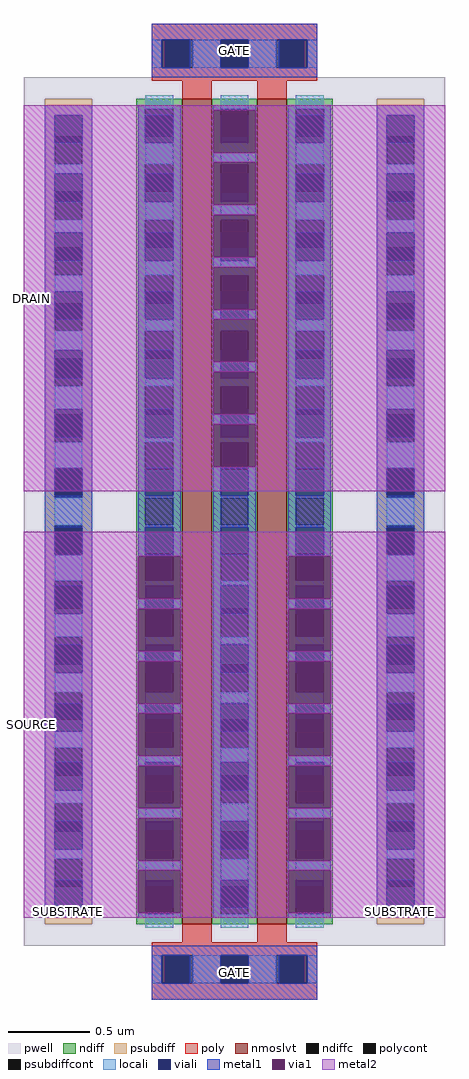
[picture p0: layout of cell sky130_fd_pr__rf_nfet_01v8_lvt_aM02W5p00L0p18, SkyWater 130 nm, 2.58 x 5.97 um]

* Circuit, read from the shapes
.subckt sky130_fd_pr__rf_nfet_01v8_lvt_aM02W5p00L0p18 DRAIN GATE SOURCE SUBSTRATE
XM1 DRAIN GATE SOURCE SUBSTRATE sky130_fd_pr__nfet_01v8_lvt w=5.05 l=0.18 m=2
.ends

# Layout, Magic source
magic
tech sky130A
magscale 1 2
<< pwell >>
rect 10 76 526 1138
<< nmoslvt >>
rect 204 102 240 1112
rect 296 102 332 1112
<< ndiff >>
rect 148 1100 204 1112
rect 148 1066 159 1100
rect 193 1066 204 1100
rect 148 1032 204 1066
rect 148 998 159 1032
rect 193 998 204 1032
rect 148 964 204 998
rect 148 930 159 964
rect 193 930 204 964
rect 148 896 204 930
rect 148 862 159 896
rect 193 862 204 896
rect 148 828 204 862
rect 148 794 159 828
rect 193 794 204 828
rect 148 760 204 794
rect 148 726 159 760
rect 193 726 204 760
rect 148 692 204 726
rect 148 658 159 692
rect 193 658 204 692
rect 148 624 204 658
rect 148 590 159 624
rect 193 590 204 624
rect 148 556 204 590
rect 148 522 159 556
rect 193 522 204 556
rect 148 488 204 522
rect 148 454 159 488
rect 193 454 204 488
rect 148 420 204 454
rect 148 386 159 420
rect 193 386 204 420
rect 148 352 204 386
rect 148 318 159 352
rect 193 318 204 352
rect 148 284 204 318
rect 148 250 159 284
rect 193 250 204 284
rect 148 216 204 250
rect 148 182 159 216
rect 193 182 204 216
rect 148 148 204 182
rect 148 114 159 148
rect 193 114 204 148
rect 148 102 204 114
rect 240 1100 296 1112
rect 240 1066 251 1100
rect 285 1066 296 1100
rect 240 1032 296 1066
rect 240 998 251 1032
rect 285 998 296 1032
rect 240 964 296 998
rect 240 930 251 964
rect 285 930 296 964
rect 240 896 296 930
rect 240 862 251 896
rect 285 862 296 896
rect 240 828 296 862
rect 240 794 251 828
rect 285 794 296 828
rect 240 760 296 794
rect 240 726 251 760
rect 285 726 296 760
rect 240 692 296 726
rect 240 658 251 692
rect 285 658 296 692
rect 240 624 296 658
rect 240 590 251 624
rect 285 590 296 624
rect 240 556 296 590
rect 240 522 251 556
rect 285 522 296 556
rect 240 488 296 522
rect 240 454 251 488
rect 285 454 296 488
rect 240 420 296 454
rect 240 386 251 420
rect 285 386 296 420
rect 240 352 296 386
rect 240 318 251 352
rect 285 318 296 352
rect 240 284 296 318
rect 240 250 251 284
rect 285 250 296 284
rect 240 216 296 250
rect 240 182 251 216
rect 285 182 296 216
rect 240 148 296 182
rect 240 114 251 148
rect 285 114 296 148
rect 240 102 296 114
rect 332 1100 388 1112
rect 332 1066 343 1100
rect 377 1066 388 1100
rect 332 1032 388 1066
rect 332 998 343 1032
rect 377 998 388 1032
rect 332 964 388 998
rect 332 930 343 964
rect 377 930 388 964
rect 332 896 388 930
rect 332 862 343 896
rect 377 862 388 896
rect 332 828 388 862
rect 332 794 343 828
rect 377 794 388 828
rect 332 760 388 794
rect 332 726 343 760
rect 377 726 388 760
rect 332 692 388 726
rect 332 658 343 692
rect 377 658 388 692
rect 332 624 388 658
rect 332 590 343 624
rect 377 590 388 624
rect 332 556 388 590
rect 332 522 343 556
rect 377 522 388 556
rect 332 488 388 522
rect 332 454 343 488
rect 377 454 388 488
rect 332 420 388 454
rect 332 386 343 420
rect 377 386 388 420
rect 332 352 388 386
rect 332 318 343 352
rect 377 318 388 352
rect 332 284 388 318
rect 332 250 343 284
rect 377 250 388 284
rect 332 216 388 250
rect 332 182 343 216
rect 377 182 388 216
rect 332 148 388 182
rect 332 114 343 148
rect 377 114 388 148
rect 332 102 388 114
<< ndiffc >>
rect 159 1066 193 1100
rect 159 998 193 1032
rect 159 930 193 964
rect 159 862 193 896
rect 159 794 193 828
rect 159 726 193 760
rect 159 658 193 692
rect 159 590 193 624
rect 159 522 193 556
rect 159 454 193 488
rect 159 386 193 420
rect 159 318 193 352
rect 159 250 193 284
rect 159 182 193 216
rect 159 114 193 148
rect 251 1066 285 1100
rect 251 998 285 1032
rect 251 930 285 964
rect 251 862 285 896
rect 251 794 285 828
rect 251 726 285 760
rect 251 658 285 692
rect 251 590 285 624
rect 251 522 285 556
rect 251 454 285 488
rect 251 386 285 420
rect 251 318 285 352
rect 251 250 285 284
rect 251 182 285 216
rect 251 114 285 148
rect 343 1066 377 1100
rect 343 998 377 1032
rect 343 930 377 964
rect 343 862 377 896
rect 343 794 377 828
rect 343 726 377 760
rect 343 658 377 692
rect 343 590 377 624
rect 343 522 377 556
rect 343 454 377 488
rect 343 386 377 420
rect 343 318 377 352
rect 343 250 377 284
rect 343 182 377 216
rect 343 114 377 148
<< psubdiff >>
rect 36 1066 94 1112
rect 36 1032 48 1066
rect 82 1032 94 1066
rect 36 998 94 1032
rect 36 964 48 998
rect 82 964 94 998
rect 36 930 94 964
rect 36 896 48 930
rect 82 896 94 930
rect 36 862 94 896
rect 36 828 48 862
rect 82 828 94 862
rect 36 794 94 828
rect 36 760 48 794
rect 82 760 94 794
rect 36 726 94 760
rect 36 692 48 726
rect 82 692 94 726
rect 36 658 94 692
rect 36 624 48 658
rect 82 624 94 658
rect 36 590 94 624
rect 36 556 48 590
rect 82 556 94 590
rect 36 522 94 556
rect 36 488 48 522
rect 82 488 94 522
rect 36 454 94 488
rect 36 420 48 454
rect 82 420 94 454
rect 36 386 94 420
rect 36 352 48 386
rect 82 352 94 386
rect 36 318 94 352
rect 36 284 48 318
rect 82 284 94 318
rect 36 250 94 284
rect 36 216 48 250
rect 82 216 94 250
rect 36 182 94 216
rect 36 148 48 182
rect 82 148 94 182
rect 36 102 94 148
rect 442 1066 500 1112
rect 442 1032 454 1066
rect 488 1032 500 1066
rect 442 998 500 1032
rect 442 964 454 998
rect 488 964 500 998
rect 442 930 500 964
rect 442 896 454 930
rect 488 896 500 930
rect 442 862 500 896
rect 442 828 454 862
rect 488 828 500 862
rect 442 794 500 828
rect 442 760 454 794
rect 488 760 500 794
rect 442 726 500 760
rect 442 692 454 726
rect 488 692 500 726
rect 442 658 500 692
rect 442 624 454 658
rect 488 624 500 658
rect 442 590 500 624
rect 442 556 454 590
rect 488 556 500 590
rect 442 522 500 556
rect 442 488 454 522
rect 488 488 500 522
rect 442 454 500 488
rect 442 420 454 454
rect 488 420 500 454
rect 442 386 500 420
rect 442 352 454 386
rect 488 352 500 386
rect 442 318 500 352
rect 442 284 454 318
rect 488 284 500 318
rect 442 250 500 284
rect 442 216 454 250
rect 488 216 500 250
rect 442 182 500 216
rect 442 148 454 182
rect 488 148 500 182
rect 442 102 500 148
<< psubdiffcont >>
rect 48 1032 82 1066
rect 48 964 82 998
rect 48 896 82 930
rect 48 828 82 862
rect 48 760 82 794
rect 48 692 82 726
rect 48 624 82 658
rect 48 556 82 590
rect 48 488 82 522
rect 48 420 82 454
rect 48 352 82 386
rect 48 284 82 318
rect 48 216 82 250
rect 48 148 82 182
rect 454 1032 488 1066
rect 454 964 488 998
rect 454 896 488 930
rect 454 828 488 862
rect 454 760 488 794
rect 454 692 488 726
rect 454 624 488 658
rect 454 556 488 590
rect 454 488 488 522
rect 454 420 488 454
rect 454 352 488 386
rect 454 284 488 318
rect 454 216 488 250
rect 454 148 488 182
<< poly >>
rect 167 1184 369 1204
rect 167 1150 183 1184
rect 217 1150 251 1184
rect 285 1150 319 1184
rect 353 1150 369 1184
rect 167 1134 369 1150
rect 204 1112 240 1134
rect 296 1112 332 1134
rect 204 80 240 102
rect 296 80 332 102
rect 167 64 369 80
rect 167 30 183 64
rect 217 30 251 64
rect 285 30 319 64
rect 353 30 369 64
rect 167 10 369 30
<< polycont >>
rect 183 1150 217 1184
rect 251 1150 285 1184
rect 319 1150 353 1184
rect 183 30 217 64
rect 251 30 285 64
rect 319 30 353 64
<< locali >>
rect 167 1150 179 1184
rect 217 1150 251 1184
rect 285 1150 319 1184
rect 357 1150 369 1184
rect 159 1100 193 1116
rect 48 1020 82 1032
rect 48 948 82 964
rect 48 876 82 896
rect 48 804 82 828
rect 48 732 82 760
rect 48 660 82 692
rect 48 590 82 624
rect 48 522 82 554
rect 48 454 82 482
rect 48 386 82 410
rect 48 318 82 338
rect 48 250 82 266
rect 48 182 82 194
rect 159 1032 193 1058
rect 159 964 193 986
rect 159 896 193 914
rect 159 828 193 842
rect 159 760 193 770
rect 159 692 193 698
rect 159 624 193 626
rect 159 588 193 590
rect 159 516 193 522
rect 159 444 193 454
rect 159 372 193 386
rect 159 300 193 318
rect 159 228 193 250
rect 159 156 193 182
rect 159 98 193 114
rect 251 1100 285 1116
rect 251 1032 285 1058
rect 251 964 285 986
rect 251 896 285 914
rect 251 828 285 842
rect 251 760 285 770
rect 251 692 285 698
rect 251 624 285 626
rect 251 588 285 590
rect 251 516 285 522
rect 251 444 285 454
rect 251 372 285 386
rect 251 300 285 318
rect 251 228 285 250
rect 251 156 285 182
rect 251 98 285 114
rect 343 1100 377 1116
rect 343 1032 377 1058
rect 343 964 377 986
rect 343 896 377 914
rect 343 828 377 842
rect 343 760 377 770
rect 343 692 377 698
rect 343 624 377 626
rect 343 588 377 590
rect 343 516 377 522
rect 343 444 377 454
rect 343 372 377 386
rect 343 300 377 318
rect 343 228 377 250
rect 343 156 377 182
rect 454 1020 488 1032
rect 454 948 488 964
rect 454 876 488 896
rect 454 804 488 828
rect 454 732 488 760
rect 454 660 488 692
rect 454 590 488 624
rect 454 522 488 554
rect 454 454 488 482
rect 454 386 488 410
rect 454 318 488 338
rect 454 250 488 266
rect 454 182 488 194
rect 343 98 377 114
rect 167 30 179 64
rect 217 30 251 64
rect 285 30 319 64
rect 357 30 369 64
<< viali >>
rect 179 1150 183 1184
rect 183 1150 213 1184
rect 251 1150 285 1184
rect 323 1150 353 1184
rect 353 1150 357 1184
rect 48 1066 82 1092
rect 48 1058 82 1066
rect 48 998 82 1020
rect 48 986 82 998
rect 48 930 82 948
rect 48 914 82 930
rect 48 862 82 876
rect 48 842 82 862
rect 48 794 82 804
rect 48 770 82 794
rect 48 726 82 732
rect 48 698 82 726
rect 48 658 82 660
rect 48 626 82 658
rect 48 556 82 588
rect 48 554 82 556
rect 48 488 82 516
rect 48 482 82 488
rect 48 420 82 444
rect 48 410 82 420
rect 48 352 82 372
rect 48 338 82 352
rect 48 284 82 300
rect 48 266 82 284
rect 48 216 82 228
rect 48 194 82 216
rect 48 148 82 156
rect 48 122 82 148
rect 159 1066 193 1092
rect 159 1058 193 1066
rect 159 998 193 1020
rect 159 986 193 998
rect 159 930 193 948
rect 159 914 193 930
rect 159 862 193 876
rect 159 842 193 862
rect 159 794 193 804
rect 159 770 193 794
rect 159 726 193 732
rect 159 698 193 726
rect 159 658 193 660
rect 159 626 193 658
rect 159 556 193 588
rect 159 554 193 556
rect 159 488 193 516
rect 159 482 193 488
rect 159 420 193 444
rect 159 410 193 420
rect 159 352 193 372
rect 159 338 193 352
rect 159 284 193 300
rect 159 266 193 284
rect 159 216 193 228
rect 159 194 193 216
rect 159 148 193 156
rect 159 122 193 148
rect 251 1066 285 1092
rect 251 1058 285 1066
rect 251 998 285 1020
rect 251 986 285 998
rect 251 930 285 948
rect 251 914 285 930
rect 251 862 285 876
rect 251 842 285 862
rect 251 794 285 804
rect 251 770 285 794
rect 251 726 285 732
rect 251 698 285 726
rect 251 658 285 660
rect 251 626 285 658
rect 251 556 285 588
rect 251 554 285 556
rect 251 488 285 516
rect 251 482 285 488
rect 251 420 285 444
rect 251 410 285 420
rect 251 352 285 372
rect 251 338 285 352
rect 251 284 285 300
rect 251 266 285 284
rect 251 216 285 228
rect 251 194 285 216
rect 251 148 285 156
rect 251 122 285 148
rect 343 1066 377 1092
rect 343 1058 377 1066
rect 343 998 377 1020
rect 343 986 377 998
rect 343 930 377 948
rect 343 914 377 930
rect 343 862 377 876
rect 343 842 377 862
rect 343 794 377 804
rect 343 770 377 794
rect 343 726 377 732
rect 343 698 377 726
rect 343 658 377 660
rect 343 626 377 658
rect 343 556 377 588
rect 343 554 377 556
rect 343 488 377 516
rect 343 482 377 488
rect 343 420 377 444
rect 343 410 377 420
rect 343 352 377 372
rect 343 338 377 352
rect 343 284 377 300
rect 343 266 377 284
rect 343 216 377 228
rect 343 194 377 216
rect 343 148 377 156
rect 343 122 377 148
rect 454 1066 488 1092
rect 454 1058 488 1066
rect 454 998 488 1020
rect 454 986 488 998
rect 454 930 488 948
rect 454 914 488 930
rect 454 862 488 876
rect 454 842 488 862
rect 454 794 488 804
rect 454 770 488 794
rect 454 726 488 732
rect 454 698 488 726
rect 454 658 488 660
rect 454 626 488 658
rect 454 556 488 588
rect 454 554 488 556
rect 454 488 488 516
rect 454 482 488 488
rect 454 420 488 444
rect 454 410 488 420
rect 454 352 488 372
rect 454 338 488 352
rect 454 284 488 300
rect 454 266 488 284
rect 454 216 488 228
rect 454 194 488 216
rect 454 148 488 156
rect 454 122 488 148
rect 179 30 183 64
rect 183 30 213 64
rect 251 30 285 64
rect 323 30 353 64
rect 353 30 357 64
<< metal1 >>
rect 167 1184 369 1204
rect 167 1150 179 1184
rect 213 1150 251 1184
rect 285 1150 323 1184
rect 357 1150 369 1184
rect 167 1138 369 1150
rect 36 1092 94 1104
rect 36 1058 48 1092
rect 82 1058 94 1092
rect 36 1020 94 1058
rect 36 986 48 1020
rect 82 986 94 1020
rect 36 948 94 986
rect 36 914 48 948
rect 82 914 94 948
rect 36 876 94 914
rect 36 842 48 876
rect 82 842 94 876
rect 36 804 94 842
rect 36 770 48 804
rect 82 770 94 804
rect 36 732 94 770
rect 36 698 48 732
rect 82 698 94 732
rect 36 660 94 698
rect 36 626 48 660
rect 82 626 94 660
rect 36 588 94 626
rect 36 554 48 588
rect 82 554 94 588
rect 36 516 94 554
rect 36 482 48 516
rect 82 482 94 516
rect 36 444 94 482
rect 36 410 48 444
rect 82 410 94 444
rect 36 372 94 410
rect 36 338 48 372
rect 82 338 94 372
rect 36 300 94 338
rect 36 266 48 300
rect 82 266 94 300
rect 36 228 94 266
rect 36 194 48 228
rect 82 194 94 228
rect 36 156 94 194
rect 36 122 48 156
rect 82 122 94 156
rect 36 110 94 122
rect 150 1092 202 1104
rect 150 1058 159 1092
rect 193 1058 202 1092
rect 150 1020 202 1058
rect 150 986 159 1020
rect 193 986 202 1020
rect 150 948 202 986
rect 150 914 159 948
rect 193 914 202 948
rect 150 876 202 914
rect 150 842 159 876
rect 193 842 202 876
rect 150 804 202 842
rect 150 770 159 804
rect 193 770 202 804
rect 150 732 202 770
rect 150 698 159 732
rect 193 698 202 732
rect 150 660 202 698
rect 150 626 159 660
rect 193 626 202 660
rect 150 588 202 626
rect 150 554 159 588
rect 193 554 202 588
rect 150 552 202 554
rect 150 488 159 500
rect 193 488 202 500
rect 150 424 159 436
rect 193 424 202 436
rect 150 360 159 372
rect 193 360 202 372
rect 150 300 202 308
rect 150 296 159 300
rect 193 296 202 300
rect 150 232 202 244
rect 150 168 202 180
rect 150 110 202 116
rect 242 1098 294 1104
rect 242 1034 294 1046
rect 242 970 294 982
rect 242 914 251 918
rect 285 914 294 918
rect 242 906 294 914
rect 242 842 251 854
rect 285 842 294 854
rect 242 778 251 790
rect 285 778 294 790
rect 242 714 251 726
rect 285 714 294 726
rect 242 660 294 662
rect 242 626 251 660
rect 285 626 294 660
rect 242 588 294 626
rect 242 554 251 588
rect 285 554 294 588
rect 242 516 294 554
rect 242 482 251 516
rect 285 482 294 516
rect 242 444 294 482
rect 242 410 251 444
rect 285 410 294 444
rect 242 372 294 410
rect 242 338 251 372
rect 285 338 294 372
rect 242 300 294 338
rect 242 266 251 300
rect 285 266 294 300
rect 242 228 294 266
rect 242 194 251 228
rect 285 194 294 228
rect 242 156 294 194
rect 242 122 251 156
rect 285 122 294 156
rect 242 110 294 122
rect 334 1092 386 1104
rect 334 1058 343 1092
rect 377 1058 386 1092
rect 334 1020 386 1058
rect 334 986 343 1020
rect 377 986 386 1020
rect 334 948 386 986
rect 334 914 343 948
rect 377 914 386 948
rect 334 876 386 914
rect 334 842 343 876
rect 377 842 386 876
rect 334 804 386 842
rect 334 770 343 804
rect 377 770 386 804
rect 334 732 386 770
rect 334 698 343 732
rect 377 698 386 732
rect 334 660 386 698
rect 334 626 343 660
rect 377 626 386 660
rect 334 588 386 626
rect 334 554 343 588
rect 377 554 386 588
rect 334 552 386 554
rect 334 488 343 500
rect 377 488 386 500
rect 334 424 343 436
rect 377 424 386 436
rect 334 360 343 372
rect 377 360 386 372
rect 334 300 386 308
rect 334 296 343 300
rect 377 296 386 300
rect 334 232 386 244
rect 334 168 386 180
rect 334 110 386 116
rect 442 1092 500 1104
rect 442 1058 454 1092
rect 488 1058 500 1092
rect 442 1020 500 1058
rect 442 986 454 1020
rect 488 986 500 1020
rect 442 948 500 986
rect 442 914 454 948
rect 488 914 500 948
rect 442 876 500 914
rect 442 842 454 876
rect 488 842 500 876
rect 442 804 500 842
rect 442 770 454 804
rect 488 770 500 804
rect 442 732 500 770
rect 442 698 454 732
rect 488 698 500 732
rect 442 660 500 698
rect 442 626 454 660
rect 488 626 500 660
rect 442 588 500 626
rect 442 554 454 588
rect 488 554 500 588
rect 442 516 500 554
rect 442 482 454 516
rect 488 482 500 516
rect 442 444 500 482
rect 442 410 454 444
rect 488 410 500 444
rect 442 372 500 410
rect 442 338 454 372
rect 488 338 500 372
rect 442 300 500 338
rect 442 266 454 300
rect 488 266 500 300
rect 442 228 500 266
rect 442 194 454 228
rect 488 194 500 228
rect 442 156 500 194
rect 442 122 454 156
rect 488 122 500 156
rect 442 110 500 122
rect 167 64 369 76
rect 167 30 179 64
rect 213 30 251 64
rect 285 30 323 64
rect 357 30 369 64
rect 167 10 369 30
<< via1 >>
rect 150 516 202 552
rect 150 500 159 516
rect 159 500 193 516
rect 193 500 202 516
rect 150 482 159 488
rect 159 482 193 488
rect 193 482 202 488
rect 150 444 202 482
rect 150 436 159 444
rect 159 436 193 444
rect 193 436 202 444
rect 150 410 159 424
rect 159 410 193 424
rect 193 410 202 424
rect 150 372 202 410
rect 150 338 159 360
rect 159 338 193 360
rect 193 338 202 360
rect 150 308 202 338
rect 150 266 159 296
rect 159 266 193 296
rect 193 266 202 296
rect 150 244 202 266
rect 150 228 202 232
rect 150 194 159 228
rect 159 194 193 228
rect 193 194 202 228
rect 150 180 202 194
rect 150 156 202 168
rect 150 122 159 156
rect 159 122 193 156
rect 193 122 202 156
rect 150 116 202 122
rect 242 1092 294 1098
rect 242 1058 251 1092
rect 251 1058 285 1092
rect 285 1058 294 1092
rect 242 1046 294 1058
rect 242 1020 294 1034
rect 242 986 251 1020
rect 251 986 285 1020
rect 285 986 294 1020
rect 242 982 294 986
rect 242 948 294 970
rect 242 918 251 948
rect 251 918 285 948
rect 285 918 294 948
rect 242 876 294 906
rect 242 854 251 876
rect 251 854 285 876
rect 285 854 294 876
rect 242 804 294 842
rect 242 790 251 804
rect 251 790 285 804
rect 285 790 294 804
rect 242 770 251 778
rect 251 770 285 778
rect 285 770 294 778
rect 242 732 294 770
rect 242 726 251 732
rect 251 726 285 732
rect 285 726 294 732
rect 242 698 251 714
rect 251 698 285 714
rect 285 698 294 714
rect 242 662 294 698
rect 334 516 386 552
rect 334 500 343 516
rect 343 500 377 516
rect 377 500 386 516
rect 334 482 343 488
rect 343 482 377 488
rect 377 482 386 488
rect 334 444 386 482
rect 334 436 343 444
rect 343 436 377 444
rect 377 436 386 444
rect 334 410 343 424
rect 343 410 377 424
rect 377 410 386 424
rect 334 372 386 410
rect 334 338 343 360
rect 343 338 377 360
rect 377 338 386 360
rect 334 308 386 338
rect 334 266 343 296
rect 343 266 377 296
rect 377 266 386 296
rect 334 244 386 266
rect 334 228 386 232
rect 334 194 343 228
rect 343 194 377 228
rect 377 194 386 228
rect 334 180 386 194
rect 334 156 386 168
rect 334 122 343 156
rect 343 122 377 156
rect 377 122 386 156
rect 334 116 386 122
<< metal2 >>
rect 10 1098 526 1104
rect 10 1046 242 1098
rect 294 1046 526 1098
rect 10 1034 526 1046
rect 10 982 242 1034
rect 294 982 526 1034
rect 10 970 526 982
rect 10 918 242 970
rect 294 918 526 970
rect 10 906 526 918
rect 10 854 242 906
rect 294 854 526 906
rect 10 842 526 854
rect 10 790 242 842
rect 294 790 526 842
rect 10 778 526 790
rect 10 726 242 778
rect 294 726 526 778
rect 10 714 526 726
rect 10 662 242 714
rect 294 662 526 714
rect 10 632 526 662
rect 10 552 526 582
rect 10 500 150 552
rect 202 500 334 552
rect 386 500 526 552
rect 10 488 526 500
rect 10 436 150 488
rect 202 436 334 488
rect 386 436 526 488
rect 10 424 526 436
rect 10 372 150 424
rect 202 372 334 424
rect 386 372 526 424
rect 10 360 526 372
rect 10 308 150 360
rect 202 308 334 360
rect 386 308 526 360
rect 10 296 526 308
rect 10 244 150 296
rect 202 244 334 296
rect 386 244 526 296
rect 10 232 526 244
rect 10 180 150 232
rect 202 180 334 232
rect 386 180 526 232
rect 10 168 526 180
rect 10 116 150 168
rect 202 116 334 168
rect 386 116 526 168
rect 10 110 526 116
<< labels >>
flabel metal2 s 10 632 30 1104 7 FreeSans 300 180 0 0 DRAIN
port 1 nsew
flabel metal2 s 10 110 30 582 7 FreeSans 300 180 0 0 SOURCE
port 3 nsew
flabel metal1 s 167 1138 369 1204 0 FreeSans 300 0 0 0 GATE
port 2 nsew
flabel metal1 s 167 10 369 76 0 FreeSans 300 0 0 0 GATE
port 2 nsew
flabel metal1 s 442 110 500 126 3 FreeSans 300 90 0 0 SUBSTRATE
port 4 nsew
flabel metal1 s 36 110 94 126 3 FreeSans 300 90 0 0 SUBSTRATE
port 4 nsew
<< properties >>
string GDS_FILE $PDKPATH/libs.ref/sky130_fd_pr/gds/sky130_fd_pr.gds
string GDS_END 6031048
string GDS_START 6015576
<< end >>
